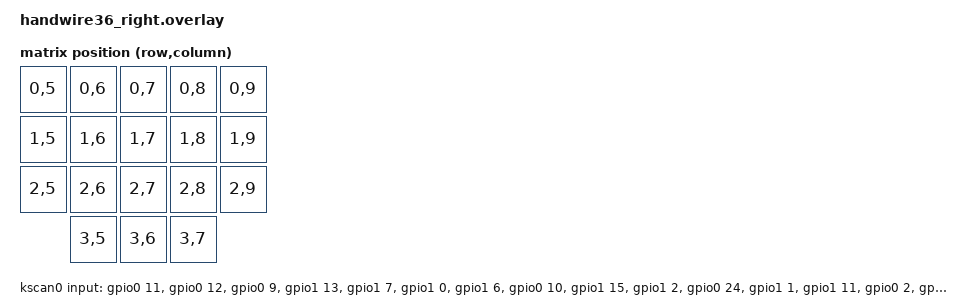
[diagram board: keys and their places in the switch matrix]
/*
 * Copyright 2024 Manna Harbour
 * https://github.com/manna-harbour/miryoku
 *
 * Handwire36 RIGHT half (PERIPHERAL) — 18 direct pins for nice_nano
 *
 * ⚠️  REPLACE GPIO pin numbers with YOUR actual right-side wiring.
 */

#include <dt-bindings/zmk/matrix_transform.h>

/ {
    chosen {
        zmk,kscan = &kscan0;
        zmk,matrix-transform = &default_transform;
    };

    kscan0: kscan {
        compatible = "zmk,kscan_gpio_direct";
        input-gpios =
            /* K05  K06  K07  K08  K09  ← top row */
            <&gpio0 11 (GPIO_ACTIVE_LOW | GPIO_PULL_UP)>,   /* K05 — P0.11 */
            <&gpio0 12 (GPIO_ACTIVE_LOW | GPIO_PULL_UP)>,   /* K06 — P0.12 */
            <&gpio0 9  (GPIO_ACTIVE_LOW | GPIO_PULL_UP)>,   /* K07 — P0.09 */
            <&gpio1 13 (GPIO_ACTIVE_LOW | GPIO_PULL_UP)>,   /* K08 — P1.13 */
            <&gpio1 7  (GPIO_ACTIVE_LOW | GPIO_PULL_UP)>,   /* K09 — P1.07 */
            /* K15  K16  K17  K18  K19  ← middle row */
            <&gpio1 0  (GPIO_ACTIVE_LOW | GPIO_PULL_UP)>,   /* K15 — P1.00 */
            <&gpio1 6  (GPIO_ACTIVE_LOW | GPIO_PULL_UP)>,   /* K16 — P1.06 */
            <&gpio0 10 (GPIO_ACTIVE_LOW | GPIO_PULL_UP)>,   /* K17 — P0.10 */
            <&gpio1 15 (GPIO_ACTIVE_LOW | GPIO_PULL_UP)>,   /* K18 — P1.15 */
            <&gpio1 2  (GPIO_ACTIVE_LOW | GPIO_PULL_UP)>,   /* K19 — P1.02 */
            /* K25  K26  K27  K28  K29  ← bottom row */
            <&gpio0 24 (GPIO_ACTIVE_LOW | GPIO_PULL_UP)>,   /* K25 — P0.24 */
            <&gpio1 1  (GPIO_ACTIVE_LOW | GPIO_PULL_UP)>,   /* K26 — P1.01 */
            <&gpio1 11 (GPIO_ACTIVE_LOW | GPIO_PULL_UP)>,   /* K27 — P1.11 */
            <&gpio0 2  (GPIO_ACTIVE_LOW | GPIO_PULL_UP)>,   /* K28 — P0.02 */
            <&gpio0 29 (GPIO_ACTIVE_LOW | GPIO_PULL_UP)>,   /* K29 — ⚠️  проверь пин! */
            /* K35  K36  K37              ← thumbs */
            <&gpio0 22 (GPIO_ACTIVE_LOW | GPIO_PULL_UP)>,   /* K35 — P0.22 */
            <&gpio0 20 (GPIO_ACTIVE_LOW | GPIO_PULL_UP)>,   /* K36 — P0.20 */
            <&gpio0 17 (GPIO_ACTIVE_LOW | GPIO_PULL_UP)>,   /* K37 — P0.17 */
            ;
    };

    default_transform: keymap_transform_0 {
        compatible = "zmk,matrix-transform";
        columns = <10>;
        rows = <4>;
        map = <
            RC(0,5) RC(0,6) RC(0,7) RC(0,8) RC(0,9)
            RC(1,5) RC(1,6) RC(1,7) RC(1,8) RC(1,9)
            RC(2,5) RC(2,6) RC(2,7) RC(2,8) RC(2,9)
                     RC(3,5) RC(3,6) RC(3,7)
        >;
    };
};
